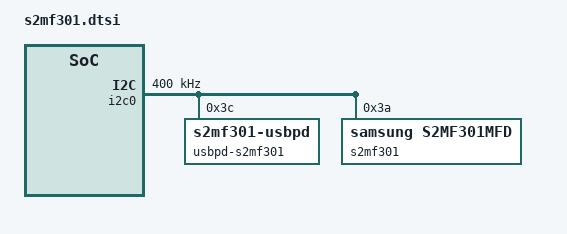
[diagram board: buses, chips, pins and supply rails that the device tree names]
&pio {
	if_pmic_irq: if_pmic_irq {
		pins_cmd_dat {
			pinmux = <MTK_PINMUX(SEC_GPIO_NUM(AP,pio,7), 0)>;
			slew-rate = <1>;
			bias-pull-up;
		};
	};
};

&pio {
	usbpd_irq: usbpd_irq {
		pins_cmd_dat {
			pinmux = <MTK_PINMUX(SEC_GPIO_NUM(AP,pio,8), 0)>;
			slew-rate = <1>;
			bias-pull-up;
		};
	};
};

&i2c0 {
	#address-cells = <1>;
	#size-cells = <0>;
	clock-frequency = <400000>;
	mediatek,use-open-drain;
	s2mf301: s2mf301@3A {
		status = "okay";
		compatible = "samsung,s2mf301mfd";
		reg = <0x3A>;
		pinctrl-names = "default";
		pinctrl-0 = <&if_pmic_irq>;
		s2mf301,irq-gpio = <SEC_GPIO_REF(AP,pio,7) 1>;
		s2mf301,wakeup;
	};
	usbpd-s2mf301@3C {
		status = "okay";
		compatible = "s2mf301-usbpd";
		reg = <0x3C>;
		pinctrl-names = "default";
		pinctrl-0 = <&usbpd_irq
#if 0
						&usbpd_vbus_discharging
#endif
#if 0
						&pogo_dock_int
#endif
						>;
		usbpd,usbpd_int = <SEC_GPIO_REF(AP,pio,8) 0>;
#if 0
		usbpd,vbus_discharging = <SEC_GPIO_REF(${usbpd_vbus_discharging_gpio}) 0>;
#endif
#if 0
		pogo_dock_int = <SEC_GPIO_REF(${pogo_gpio}) 0>;
#endif

		pdic-manager {
			/* sink */
			pdic,max_power = <5000>;
			pdic_op_power = <2500>;
			pdic_max_voltage = <6000>;
			pdic_max_current = <2000>;
			pdic,min_current = <500>;

			pdic,giveback = <0>;
			pdic,usb_com_capable = <1>;
			pdic,no_usb_suspend = <1>;

			/* source */
			source,max_voltage = <5000>;
			source,min_voltage = <4000>;
			source,max_power = <2500>;

			/* sink cap */
			sink,capable_max_voltage = <5000>;
		};
	};
};


/* /home/dpi/qb5_8814/workspace/P4_1716/android/kernel/kmodule/mfd/VINCE/slsi/s2mf301/s2mf301_mtk.a17.dtsi */
/delete-node/ &s2mf301;

&pio {
	i2c0_pins: i2c0_pins {
			pins_cmd_dat {
			pinmux = <PINMUX_GPIO130__FUNC_SCL0>,
					<PINMUX_GPIO131__FUNC_SDA0>;
			bias-disable;
			mediatek,drive-strength-adv = <00>;
			drive-strength = <3>;
		};
	};
};

&i2c0 {
	#address-cells = <1>;
	#size-cells = <0>;
	clock-frequency = <400000>;
	mediatek,use-open-drain;
	s2mf301: s2mf301@3A {
		status = "okay";
		compatible = "samsung,s2mf301mfd";
		reg = <0x3A>;
		pinctrl-names = "default";
		pinctrl-0 = <&if_pmic_irq &i2c0_pins>;
		s2mf301,irq-gpio = <SEC_GPIO_REF(AP,pio,7) 1>;
		s2mf301,wakeup;
	};
};

